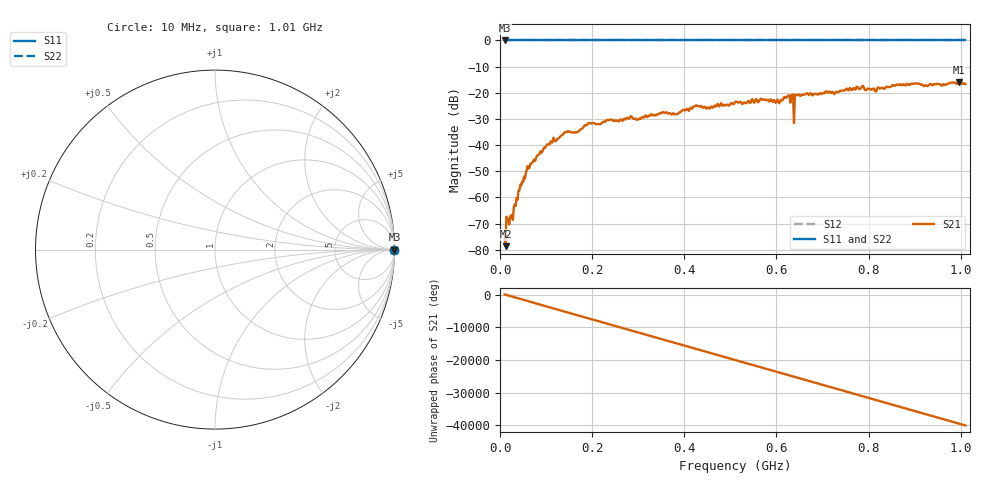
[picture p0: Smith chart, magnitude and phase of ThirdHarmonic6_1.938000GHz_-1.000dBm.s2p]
! 8/16/2025 11:21:08 PM
! C:\ANRITSUVNA\TEMP\TEMP.S2P
! CHANNEL.1
! TR.MEASUREMENT
! RAW.DATA
! RF.CORRECTION.OFF
! AVERAGING.OFF
! IF.BANDWIDTH: 5KHZ
! SWEEPTYPE:  FREQ.SWEEP(Linear)
! Reference Plane Port Info
! PORT:  PORT1  PORT2
! DISTANCE:  0  m  0  m
! TIME:  0  s  0  s
! PHASE.OFFSET:  0  deg.  0  deg.
! LOSS:  0  dB  0  dB
! REF.LOSS:  0  dB  0  dB
! REF.FREQ:  0  Hz  0  Hz
! Power Info
! POWER:  -20  dBm  -20  dBm
! EFF.POWER:  -20  dBm  -20  dBm
! SOURCE.ATTEN:  0  dB  0  dB
! TEST.ATTEN:  0  dB  0  dB
# GHZ S RI R 50.0
! FREQ.GHZ  S11RE  S11IM  S21RE  S21IM  S12RE  S12IM  S22RE  S22IM
!; PortSelection: Port_12
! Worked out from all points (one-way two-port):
!   501 points, 10 MHz to 1.01 GHz, reference 50 ohm
!   highest |S21| = -16.07 dB at 996 MHz (marker M1); lowest = -78.7 dB at 12 MHz (marker M2)
!   lowest |S11| = 0.0 dB at 10 MHz (marker M3)
!   |S11| at or under -10 dB: nowhere
!   |S22| runs from 0.0 to 0.0 dB; largest |S21 - S12| = 1.2
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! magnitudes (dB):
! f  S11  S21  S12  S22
! 10 MHz  0.0  -76.0  0.0  0.0
! 12 MHz  0.0  -78.7  0.0  0.0
! 18 MHz  0.0  -68.5  0.0  0.0
! 24 MHz  0.0  -67.9  0.0  0.0
! 44 MHz  0.0  -55.2  0.0  0.0
! 70 MHz  0.0  -46.7  0.0  0.0
! 114 MHz  0.0  -39.0  0.0  0.0
! 142 MHz  0.0  -35.1  0.0  0.0
! 178 MHz  0.0  -33.7  0.0  0.0
! 194 MHz  0.0  -31.6  0.0  0.0
! 344 MHz  0.0  -28.3  0.0  0.0
! 510 MHz  0.0  -23.6  0.0  0.0
! 602 MHz  0.0  -22.6  0.0  0.0
! 624 MHz  0.0  -21.3  0.0  0.0
! 632 MHz  0.0  -21.0  0.0  0.0
! 634 MHz  0.0  -20.9  0.0  0.0
! 642 MHz  0.0  -20.9  0.0  0.0
! 644 MHz  0.0  -20.9  0.0  0.0
! 678 MHz  0.0  -21.0  0.0  0.0
! 844 MHz  0.0  -17.8  0.0  0.0
! 996 MHz  0.0  -16.1  0.0  0.0
! 1.01 GHz  0.0  -16.7  0.0  0.0
